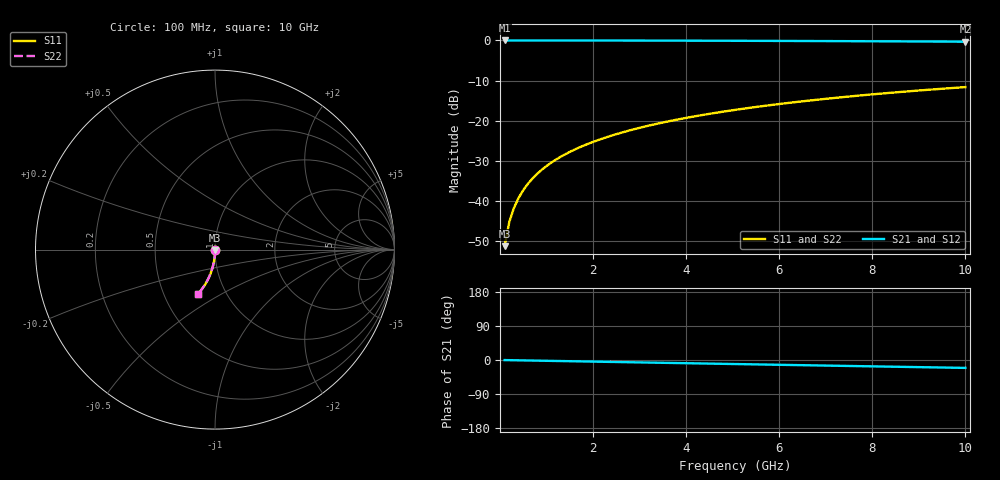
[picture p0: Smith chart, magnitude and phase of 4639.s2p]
# Hz S RI R 50.00
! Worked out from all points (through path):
!   100 points, 100 MHz to 10 GHz, reference 50 ohm
!   highest |S21| = 0.00 dB at 100 MHz (marker M1); lowest = -0.3 dB at 10 GHz (marker M2)
!   group delay of S21, straight-line fit = 5.8 ps
!   lowest |S11| = -51.3 dB at 100 MHz (marker M3), VSWR 1.01, Z = 50 - j0.272 ohm
!   |S11| at or under -10 dB: start of sweep to end of sweep
!   |S22| runs from -51.3 to -11.6 dB; largest |S21 - S12| = 0
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1e8  0.000215 -0.00272  0.9998 -0.00369  0.9998 -0.00369  0.000215 -0.00272
2e8  0.000183 -0.00545  0.9997 -0.00739  0.9997 -0.00739  0.000183 -0.00545
3e8  0.000131 -0.00817  0.9997 -0.0111  0.9997 -0.0111  0.000131 -0.00817
4e8  5.86e-05 -0.0109  0.9996 -0.0148  0.9996 -0.0148  5.86e-05 -0.0109
5e8  -3.42e-05 -0.0136  0.9995 -0.0185  0.9995 -0.0185  -3.42e-05 -0.0136
6e8  -0.000147 -0.0163  0.9994 -0.0222  0.9994 -0.0222  -0.000147 -0.0163
7e8  -0.00028 -0.0191  0.9992 -0.0258  0.9992 -0.0258  -0.00028 -0.0191
8e8  -0.000434 -0.0218  0.9991 -0.0295  0.9991 -0.0295  -0.000434 -0.0218
9e8  -0.000607 -0.0245  0.9989 -0.0332  0.9989 -0.0332  -0.000607 -0.0245
1.1e9  -0.00101 -0.0299  0.9985 -0.0406  0.9985 -0.0406  -0.00101 -0.0299
1.4e9  -0.00178 -0.0381  0.9977 -0.0516  0.9977 -0.0516  -0.00178 -0.0381
1.8e9  -0.00307 -0.0489  0.9963 -0.0663  0.9963 -0.0663  -0.00307 -0.0489
2.1e9  -0.00425 -0.057  0.9951 -0.0773  0.9951 -0.0773  -0.00425 -0.057
2.5e9  -0.0061 -0.0677  0.9931 -0.0919  0.9931 -0.0919  -0.0061 -0.0677
2.9e9  -0.00826 -0.0783  0.9909 -0.1065  0.9909 -0.1065  -0.00826 -0.0783
3.4e9  -0.0114 -0.0916  0.9876 -0.1246  0.9876 -0.1246  -0.0114 -0.0916
4.2e9  -0.0174 -0.1124  0.9812 -0.1532  0.9812 -0.1532  -0.0174 -0.1124
5.1e9  -0.0256 -0.1353  0.9726 -0.1849  0.9726 -0.1849  -0.0256 -0.1353
5.9e9  -0.0341 -0.155  0.9637 -0.2125  0.9637 -0.2125  -0.0341 -0.155
6.7e9  -0.0437 -0.1742  0.9537 -0.2395  0.9537 -0.2395  -0.0437 -0.1742
8.4e9  -0.0674 -0.2125  0.9287 -0.2945  0.9287 -0.2945  -0.0674 -0.2125
1e10  -0.0933 -0.2451  0.9013 -0.343  0.9013 -0.343  -0.0933 -0.2451
